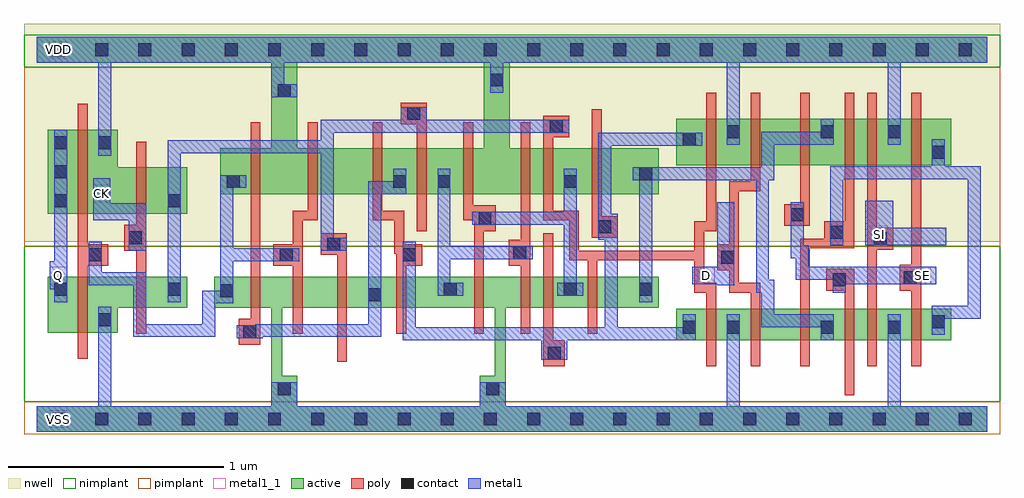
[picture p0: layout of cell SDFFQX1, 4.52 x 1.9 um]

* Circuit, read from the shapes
.subckt SDFFQX1 CK D Q SE SI VDD VSS
M1 VSS n1 Q VSS nfet w=0.26u l=0.045u
M2 n2 CK VSS VSS nfet w=0.145u l=0.045u
M3 VSS n3 n1 VSS nfet w=0.145u l=0.045u
M4 n4 n1 VSS VSS nfet w=0.145u l=0.045u
M5 n3 n2 n4 VSS nfet w=0.145u l=0.045u
M6 n5 n6 n3 VSS nfet w=0.145u l=0.045u
M7 VSS n7 n5 VSS nfet w=0.145u l=0.045u
M8 n8 n5 VSS VSS nfet w=0.145u l=0.045u
M9 n7 n6 n8 VSS nfet w=0.145u l=0.045u
M10 n9 n2 n7 VSS nfet w=0.145u l=0.045u
M11 VSS n2 n6 VSS nfet w=0.145u l=0.045u
M12 n10 D VSS VSS nfet w=0.145u l=0.045u
M13 n9 n11 n10 VSS nfet w=0.145u l=0.045u
M14 n12 SE n9 VSS nfet w=0.145u l=0.045u
M15 VSS SI n12 VSS nfet w=0.145u l=0.045u
M16 n11 SE VSS VSS nfet w=0.145u l=0.045u
M17 VDD n1 Q VDD pfet w=0.39u l=0.045u
M18 n2 CK VDD VDD pfet w=0.215u l=0.045u
M19 VDD n3 n1 VDD pfet w=0.215u l=0.045u
M20 n13 n1 VDD VDD pfet w=0.215u l=0.045u
M21 n3 n6 n13 VDD pfet w=0.215u l=0.045u
M22 n5 n2 n3 VDD pfet w=0.215u l=0.045u
M23 VDD n7 n5 VDD pfet w=0.215u l=0.045u
M24 n14 n5 VDD VDD pfet w=0.215u l=0.045u
M25 n7 n2 n14 VDD pfet w=0.215u l=0.045u
M26 n9 n6 n7 VDD pfet w=0.215u l=0.045u
M27 VDD n2 n6 VDD pfet w=0.215u l=0.045u
M28 n15 D VDD VDD pfet w=0.215u l=0.045u
M29 n9 SE n15 VDD pfet w=0.215u l=0.045u
M30 n16 n11 n9 VDD pfet w=0.215u l=0.045u
M31 VDD SI n16 VDD pfet w=0.215u l=0.045u
M32 n11 SE VDD VDD pfet w=0.215u l=0.045u
.ends

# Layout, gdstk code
import gdstk
lib = gdstk.Library(unit=1e-6, precision=5e-10)
def R(c, l, rs):  # rectangles x0, y0, x1, y1
    for r in rs: c.add(gdstk.rectangle(r[:2], r[2:], *l))
def A(c, l, x, y, w, h, nx, ny, dx, dy):  # array of equal rectangles
    R(c, l, [(x+i*dx, y+j*dy, x+i*dx+w, y+j*dy+h) for i in range(nx) for j in range(ny)])
def P(c, l, *ps):  # polygons
    for p in ps: c.add(gdstk.Polygon(p, *l))
active = (1, 0)
nwell = (2, 0)
poly = (3, 0)
nimplant = (4, 0)
pimplant = (5, 0)
contact = (6, 0)
metal1 = (7, 0)
metal1_1 = (7, 1)

sdffqx1 = lib.new_cell('SDFFQX1')
R(sdffqx1, active, [(2.96,0.365,4.235,0.51), (2.96,1.175,4.235,1.39)])
P(sdffqx1, active, [(0,1.77),(4.4,1.77),(4.4,1.65),(2.19,1.65),(2.19,1.255),(2.88,1.255),(2.88,1.04),(0.85,1.04),(0.85,1.255),(1.085,1.255),(1.085,1.65),(1.205,1.65),(1.205,1.255),(2.07,1.255),(2.07,1.65),(0,1.65)],
  [(0.05,1.34),(0.375,1.34),(0.375,1.165),(0.695,1.165),(0.695,0.95),(0.05,0.95)],
  [(0.05,0.66),(0.695,0.66),(0.695,0.515),(0.375,0.515),(0.375,0.4),(0.05,0.4)],
  [(0.82,0.66),(2.88,0.66),(2.88,0.515),(2.17,0.515),(2.17,0.06),(4.4,0.06),(4.4,-0.06),(0,-0.06),(0,0.06),(1.085,0.06),(1.085,0.515),(1.135,0.515),(1.135,0.2),(1.205,0.2),(1.205,0.06),(2.05,0.06),(2.05,0.2),(2.12,0.2),(2.12,0.515),(0.82,0.515)])
R(sdffqx1, nwell, [(-0.06,0.82,4.46,1.83)])
P(sdffqx1, poly, [(0.19,1.46),(0.235,1.46),(0.235,0.81),(0.33,0.81),(0.33,0.71),(0.235,0.71),(0.235,0.28),(0.19,0.28)],
  [(1.685,1.465),(1.805,1.465),(1.805,0.87),(1.76,0.87),(1.76,1.365),(1.685,1.365)],
  [(0.46,1.285),(0.505,1.285),(0.505,0.395),(0.46,0.395),(0.46,0.78),(0.405,0.78),(0.405,0.9),(0.46,0.9)],
  [(0.99,1.375),(1.035,1.375),(1.035,0.345),(0.935,0.345),(0.935,0.465),(0.99,0.465)],
  [(1.255,1.375),(1.3,1.375),(1.3,0.92),(1.23,0.92),(1.23,0.395),(1.185,0.395),(1.185,0.71),(1.095,0.71),(1.095,0.81),(1.185,0.81),(1.185,0.965),(1.255,0.965)],
  [(1.555,1.375),(1.6,1.375),(1.6,0.965),(1.7,0.965),(1.7,0.81),(1.785,0.81),(1.785,0.71),(1.71,0.71),(1.71,0.395),(1.665,0.395),(1.665,0.765),(1.655,0.765),(1.655,0.92),(1.555,0.92)],
  [(1.975,1.375),(2.02,1.375),(2.02,0.99),(2.125,0.99),(2.125,0.87),(2.07,0.87),(2.07,0.395),(2.025,0.395),(2.025,0.92),(1.975,0.92)],
  [(2.345,1.405),(2.465,1.405),(2.465,1.305),(2.39,1.305),(2.39,0.965),(2.51,0.965),(2.51,0.78),(3.045,0.78),(3.045,0.915),(3.1,0.915),(3.1,1.51),(3.145,1.51),(3.145,0.87),(3.09,0.87),(3.09,0.63),(3.145,0.63),(3.145,0.245),(3.1,0.245),(3.1,0.585),(3.045,0.585),(3.045,0.735),(2.595,0.735),(2.595,0.395),(2.55,0.395),(2.55,0.735),(2.465,0.735),(2.465,0.92),(2.345,0.92)],
  [(2.24,1.375),(2.285,1.375),(2.285,0.395),(2.24,0.395),(2.24,0.71),(2.185,0.71),(2.185,0.83),(2.24,0.83)],
  [(3.305,1.51),(3.35,1.51),(3.35,1.055),(3.25,1.055),(3.25,0.63),(3.35,0.63),(3.35,0.245),(3.305,0.245),(3.305,0.585),(3.205,0.585),(3.205,0.69),(3.15,0.69),(3.15,0.81),(3.205,0.81),(3.205,1.1),(3.305,1.1)],
  [(3.535,1.51),(3.58,1.51),(3.58,0.895),(3.46,0.895),(3.46,0.995),(3.535,0.995)],
  [(3.74,1.51),(3.785,1.51),(3.785,0.79),(3.58,0.79),(3.58,0.245),(3.535,0.245),(3.535,0.835),(3.645,0.835),(3.645,0.915),(3.74,0.915)],
  [(3.845,1.51),(3.89,1.51),(3.89,0.885),(3.965,0.885),(3.965,0.785),(3.89,0.785),(3.89,0.245),(3.845,0.245)],
  [(4.05,1.51),(4.095,1.51),(4.095,0.245),(4.05,0.245),(4.05,0.595),(3.995,0.595),(3.995,0.715),(4.05,0.715)],
  [(2.57,1.435),(2.615,1.435),(2.615,0.94),(2.69,0.94),(2.69,0.84),(2.57,0.84)],
  [(1.315,0.86),(1.435,0.86),(1.435,0.265),(1.39,0.265),(1.39,0.76),(1.315,0.76)],
  [(2.345,0.86),(2.39,0.86),(2.39,0.365),(2.445,0.365),(2.445,0.245),(2.345,0.245)],
  [(3.655,0.695),(3.785,0.695),(3.785,0.11),(3.74,0.11),(3.74,0.595),(3.655,0.595)])
R(sdffqx1, nimplant, [(-0.06,0.08,4.46,0.8), (-0.06,1.63,4.46,1.78)])
R(sdffqx1, pimplant, [(-0.06,-0.07,4.46,0.08), (-0.06,0.8,4.46,1.63)])
A(sdffqx1, contact, 0.07, -0.03, 0.06, 0.06, 22, 2, 0.2, 1.71)
A(sdffqx1, contact, 0.08, 0.98, 0.06, 0.06, 1, 3, 0, 0.135)
R(sdffqx1, contact, [(1.115,0.11,1.175,0.17), (2.08,0.11,2.14,0.17), (2.365,0.275,2.425,0.335), (0.955,0.375,1.015,0.435), (2.99,0.395,3.05,0.455), (3.195,0.395,3.255,0.455), (3.63,0.395,3.69,0.455), (3.94,0.395,4,0.455), (4.145,0.42,4.205,0.48), (0.285,0.43,0.345,0.49), (1.535,0.545,1.595,0.605), (0.85,0.565,0.91,0.625), (0.08,0.57,0.14,0.63), (0.605,0.57,0.665,0.63), (1.885,0.57,1.945,0.63), (2.44,0.57,2.5,0.63), (2.79,0.57,2.85,0.63), (3.685,0.615,3.745,0.675), (4.015,0.625,4.075,0.685), (3.17,0.72,3.23,0.78), (0.24,0.73,0.3,0.79), (1.125,0.73,1.185,0.79), (1.695,0.73,1.755,0.79), (2.205,0.74,2.265,0.8), (1.345,0.78,1.405,0.84), (3.875,0.805,3.935,0.865), (0.425,0.81,0.485,0.87), (3.675,0.835,3.735,0.895), (2.6,0.86,2.66,0.92), (2.045,0.9,2.105,0.96), (3.49,0.915,3.55,0.975), (0.605,0.98,0.665,1.04), (0.88,1.07,0.94,1.13), (1.65,1.07,1.71,1.13), (1.855,1.07,1.915,1.13), (2.44,1.07,2.5,1.13), (2.79,1.105,2.85,1.165), (4.145,1.205,4.205,1.265), (0.285,1.25,0.345,1.31), (2.99,1.265,3.05,1.325), (3.195,1.3,3.255,1.36), (3.63,1.3,3.69,1.36), (3.94,1.3,4,1.36), (2.375,1.325,2.435,1.385), (1.715,1.385,1.775,1.445), (1.115,1.49,1.175,1.55), (2.1,1.54,2.16,1.6)])
P(sdffqx1, metal1, [(0,1.77),(4.4,1.77),(4.4,1.65),(4,1.65),(4,1.27),(3.94,1.27),(3.94,1.65),(3.255,1.65),(3.255,1.27),(3.195,1.27),(3.195,1.65),(2.16,1.65),(2.16,1.51),(2.1,1.51),(2.1,1.65),(1.145,1.65),(1.145,1.55),(1.205,1.55),(1.205,1.49),(1.085,1.49),(1.085,1.65),(0.345,1.65),(0.345,1.22),(0.285,1.22),(0.285,1.65),(0,1.65)],
  [(0.08,1.34),(0.14,1.34),(0.14,0.54),(0.08,0.54),(0.08,0.6),(0.06,0.6),(0.06,0.73),(0.08,0.73)],
  [(1.685,1.445),(1.805,1.445),(1.805,1.385),(2.465,1.385),(2.465,1.325),(1.375,1.325),(1.375,0.84),(1.435,0.84),(1.435,0.78),(1.315,0.78),(1.315,1.23),(0.665,1.23),(0.665,0.54),(0.605,0.54),(0.605,1.29),(1.315,1.29),(1.315,1.385),(1.685,1.385)],
  [(0.26,1.115),(0.34,1.115),(0.34,1),(0.505,1),(0.505,0.78),(0.425,0.78),(0.425,0.92),(0.26,0.92)],
  [(0.85,1.13),(0.97,1.13),(0.97,1.07),(0.91,1.07),(0.91,0.79),(1.215,0.79),(1.215,0.73),(0.91,0.73),(0.91,0.535),(0.825,0.535),(0.825,0.38),(0.445,0.38),(0.445,0.62),(0.24,0.62),(0.24,0.82),(0.3,0.82),(0.3,0.68),(0.505,0.68),(0.505,0.44),(0.765,0.44),(0.765,0.595),(0.85,0.595)],
  [(0.285,0.52),(0.345,0.52),(0.345,0.06),(1.085,0.06),(1.085,0.17),(1.205,0.17),(1.205,0.06),(2.05,0.06),(2.05,0.17),(2.17,0.17),(2.17,0.06),(3.195,0.06),(3.195,0.485),(3.255,0.485),(3.255,0.06),(3.94,0.06),(3.94,0.485),(4,0.485),(4,0.06),(4.4,0.06),(4.4,-0.06),(0,-0.06),(0,0.06),(0.285,0.06)],
  [(2.6,1.325),(3.08,1.325),(3.08,1.265),(2.66,1.265),(2.66,0.95),(2.69,0.95),(2.69,0.425),(2.99,0.425),(2.99,0.485),(3.05,0.485),(3.05,0.365),(2.455,0.365),(2.455,0.275),(2.335,0.275),(2.335,0.365),(1.695,0.365),(1.695,0.82),(1.755,0.82),(1.755,0.425),(2.63,0.425),(2.63,0.83),(2.6,0.83)],
  [(3.63,1.39),(3.69,1.39),(3.69,1.27),(3.415,1.27),(3.415,1.105),(3.39,1.105),(3.39,0.645),(3.415,0.645),(3.415,0.485),(3.69,0.485),(3.69,0.365),(3.63,0.365),(3.63,0.425),(3.355,0.425),(3.355,0.585),(3.33,0.585),(3.33,1.105),(2.85,1.105),(2.85,0.54),(2.79,0.54),(2.79,1.105),(2.76,1.105),(2.76,1.165),(3.355,1.165),(3.355,1.33),(3.63,1.33)],
  [(4.145,1.295),(4.205,1.295),(4.205,1.17),(4.37,1.17),(4.37,0.465),(4.205,0.465),(4.205,0.39),(4.145,0.39),(4.145,0.525),(4.31,0.525),(4.31,1.11),(3.735,1.11),(3.735,0.805),(3.675,0.805),(3.675,1.17),(4.145,1.17)],
  [(1.65,1.16),(1.71,1.16),(1.71,1.04),(1.595,1.04),(1.595,0.38),(1.045,0.38),(1.045,0.375),(0.925,0.375),(0.925,0.435),(1.01,0.435),(1.01,0.44),(1.535,0.44),(1.535,1.1),(1.65,1.1)],
  [(1.855,1.16),(1.915,1.16),(1.915,0.8),(2.295,0.8),(2.295,0.74),(1.915,0.74),(1.915,0.63),(1.975,0.63),(1.975,0.57),(1.855,0.57)],
  [(2.44,1.16),(2.5,1.16),(2.5,0.63),(2.53,0.63),(2.53,0.57),(2.41,0.57),(2.41,0.63),(2.44,0.63),(2.44,0.9),(2.015,0.9),(2.015,0.96),(2.44,0.96)],
  [(3.15,1.005),(3.23,1.005),(3.23,0.62),(3.15,0.62),(3.15,0.625),(3.035,0.625),(3.035,0.705),(3.15,0.705)],
  [(3.49,1.005),(3.55,1.005),(3.55,0.805),(3.575,0.805),(3.575,0.705),(4.165,0.705),(4.165,0.625),(3.745,0.625),(3.745,0.585),(3.685,0.585),(3.685,0.645),(3.515,0.645),(3.515,0.745),(3.49,0.745)],
  [(3.835,1.01),(3.965,1.01),(3.965,0.885),(4.21,0.885),(4.21,0.805),(3.835,0.805)])
R(sdffqx1, metal1_1, [(0.06,-0.04,0.14,0.04), (0.06,0.625,0.14,0.705), (3.06,0.625,3.14,0.705), (4.06,0.625,4.14,0.705), (3.86,0.815,3.94,0.895), (0.26,1.005,0.34,1.085), (0.06,1.67,0.14,1.75)])
sdffqx1.add(gdstk.Label('Q', (0.1,0.665), layer=7, texttype=1))
sdffqx1.add(gdstk.Label('SE', (4.1,0.665), layer=7, texttype=1))
sdffqx1.add(gdstk.Label('SI', (3.9,0.855), layer=7, texttype=1))
sdffqx1.add(gdstk.Label('D', (3.1,0.665), layer=7, texttype=1))
sdffqx1.add(gdstk.Label('CK', (0.3,1.045), layer=7, texttype=1))
sdffqx1.add(gdstk.Label('VDD', (0.1,1.71), layer=7, texttype=1))
sdffqx1.add(gdstk.Label('VSS', (0.1,0), layer=7, texttype=1))
sdffqx1.add(gdstk.Label('SDFFQX1', (0,0), layer=63, texttype=0))

lib.write_gds('SDFFQX1.gds')
